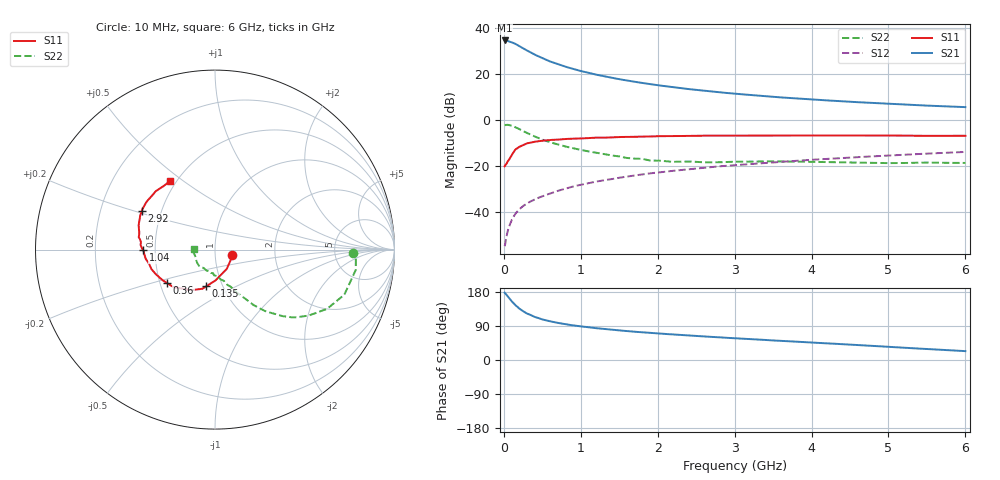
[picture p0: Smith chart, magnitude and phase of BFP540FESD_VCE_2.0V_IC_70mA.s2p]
! Infineon Technologies  Discrete & RF Semiconductors
! BFP540FESD
! VCE =  2.0 V,  IC =  70 mA
! Common Emitter S-Parameters:  Nov 2015
# GHz  S  MA  R  50
!  f  S11  S21  S12  S22
! GHz  MAG  ANG  MAG  ANG  MAG  ANG  MAG  ANG
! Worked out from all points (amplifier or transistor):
!   210 points, 10 MHz to 6 GHz, reference 50 ohm
!   highest |S21| = 34.7 dB at 10 MHz (marker M1)
!   |S21| within 3 dB of that: start of sweep to 228.6 MHz
!   unconditionally stable (mu >= 1): start of sweep to 45.48 MHz; 826.9 MHz to end of sweep
!   at 185 MHz: K = 0.65, MSG = 36.0 dB, |S12| = -39.4 dB
!   at 1.52 GHz: K = 1.10, MAG = 19.5 dB, |S12| = -25.0 dB
!   at 6 GHz: K = 1.22, MAG = 6.9 dB, |S12| = -13.8 dB
!   S11 on the Smith chart (normalised r, x): 10 MHz: 1.20, -0.08; 135 MHz: 0.84, -0.36; 360 MHz: 0.54, -0.23; 1.04 GHz: 0.43, -0.00; 2.92 GHz: 0.39, +0.21; 6 GHz: 0.46, +0.44
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0.01  0.0989 -19.2  54.4 177.7  0.0018 114.8  0.7679 -1.4
0.02  0.1051 -33.5  52.86 175.6  0.0021 107.7  0.7849 -0.9
0.05  0.1264 -59.0  53.08 168.0  0.0038 94.7  0.7925 -8.2
0.1  0.1723 -89.3  49.89 155.4  0.0065 79.7  0.7633 -19.2
0.135  0.2101 -103.4  46.92 148.2  0.0083 78.6  0.7214 -25.1
0.15  0.2293 -107.9  45.9 144.8  0.0091 78.2  0.706 -27.9
0.2  0.2614 -120.2  41.07 135.8  0.0114 72.3  0.639 -35.1
0.3  0.3122 -138.1  32.9 122.7  0.0153 70.2  0.5277 -44.6
0.36  0.3261 -145.2  29.12 117.8  0.0173 71.0  0.4757 -48.1
0.4  0.338 -149.6  26.75 113.7  0.0187 71.4  0.4421 -50.8
0.5  0.3568 -157.4  22.36 107.1  0.0221 71.0  0.3764 -55.2
0.6  0.3704 -162.9  19 102.1  0.0251 70.4  0.3302 -57.8
0.8  0.3894 -172.4  14.59 94.4  0.0322 70.8  0.2665 -63.3
1.02  0.3992 -179.1  11.54 88.2  0.0397 70.8  0.2217 -67.7
1.04  0.4011 -179.6  11.33 87.8  0.0404 70.6  0.2184 -68.3
1.5  0.4302 170.9  7.796 78.1  0.0556 68.3  0.1623 -81.5
2.02  0.4473 161.8  5.707 69.8  0.0728 65.1  0.1312 -99.7
2.92  0.4613 152.0  3.877 58.3  0.1021 59.7  0.1229 -125.4
3.1  0.4629 150.2  3.651 56.3  0.1074 58.3  0.1246 -128.8
4.1  0.4636 142.7  2.756 45.0  0.1401 51.7  0.1228 -145.0
5.1  0.4615 134.2  2.237 33.6  0.1731 43.3  0.1161 -161.4
6  0.4567 123.5  1.921 23.4  0.2031 35.7  0.117 177.5
